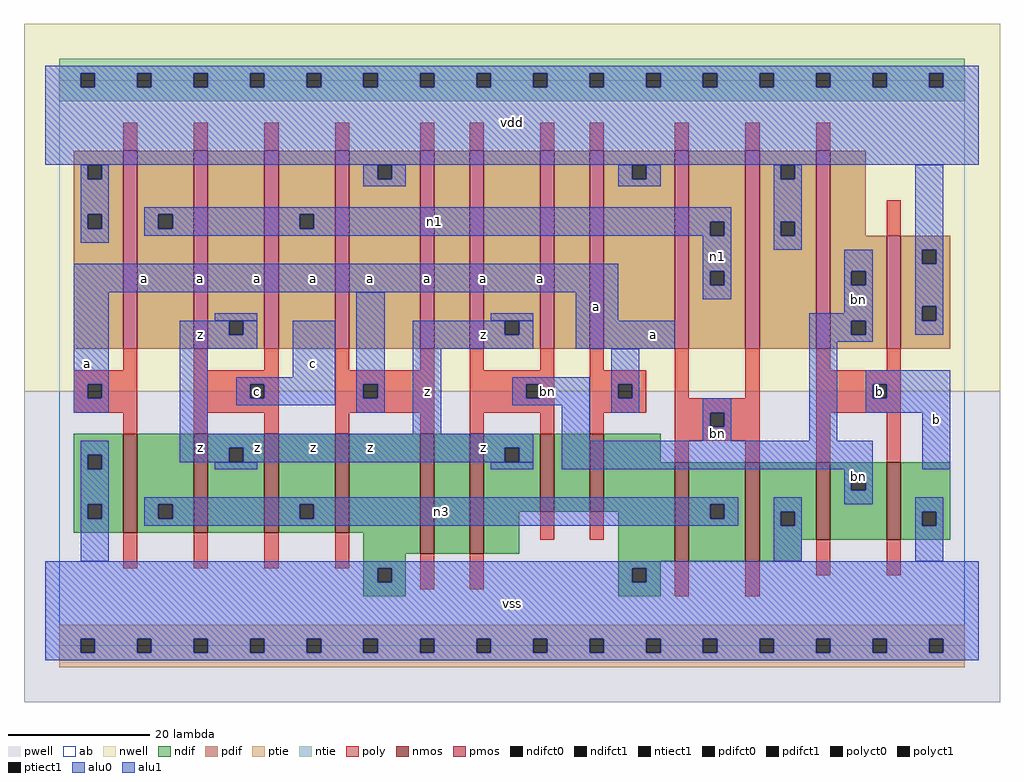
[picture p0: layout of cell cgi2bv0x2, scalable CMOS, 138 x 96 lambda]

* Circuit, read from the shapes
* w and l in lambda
.subckt cgi2bv0x2 a b bn c n1 n3 vdd vss z
M1 n3 a vss vss nfet w=14 l=2 m=2
M2 z c n3 vss nfet w=14 l=2 m=2
M3 n2 a vss vss nfet w=17 l=2
M4 z bn n2 vss nfet w=17 l=2
M5 n4 bn z vss nfet w=11 l=2
M6 vss a n4 vss nfet w=11 l=2
M7 n3 bn vss vss nfet w=14 l=2 m=2
M8 bn b vss vss nfet w=11 l=2 m=2
M9 n1 a vdd vdd pfet w=28 l=2 m=2
M10 z c n1 vdd pfet w=28 l=2 m=2
M11 n5 a vdd vdd pfet w=28 l=2
M12 z bn n5 vdd pfet w=28 l=2
M13 n6 bn z vdd pfet w=28 l=2
M14 vdd a n6 vdd pfet w=28 l=2
M15 n1 bn vdd vdd pfet w=28 l=2 m=2
M16 bn b vdd vdd pfet w=28 l=2
M17 vdd b bn vdd pfet w=16 l=2
.ends

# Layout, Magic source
magic
tech scmos
<< ab >>
rect 0 0 128 80
<< nwell >>
rect -5 36 133 88
<< pwell >>
rect -5 -8 133 36
<< poly >>
rect 9 70 11 74
rect 19 70 21 74
rect 29 70 31 74
rect 39 70 41 74
rect 51 70 53 74
rect 58 70 60 74
rect 68 70 70 74
rect 75 70 77 74
rect 87 70 89 74
rect 97 70 99 74
rect 107 70 109 74
rect 117 58 119 63
rect 9 39 11 42
rect 2 37 11 39
rect 2 35 4 37
rect 6 35 11 37
rect 2 33 11 35
rect 9 30 11 33
rect 19 39 21 42
rect 29 39 31 42
rect 19 37 31 39
rect 19 35 27 37
rect 29 35 31 37
rect 19 33 31 35
rect 19 30 21 33
rect 29 30 31 33
rect 39 39 41 42
rect 51 39 53 42
rect 39 37 53 39
rect 39 35 43 37
rect 45 35 53 37
rect 39 33 53 35
rect 39 30 41 33
rect 51 30 53 33
rect 58 39 60 42
rect 68 39 70 42
rect 58 37 70 39
rect 58 35 66 37
rect 68 35 70 37
rect 58 33 70 35
rect 58 30 60 33
rect 68 30 70 33
rect 75 39 77 42
rect 75 37 83 39
rect 75 35 79 37
rect 81 35 83 37
rect 75 33 83 35
rect 87 35 89 42
rect 97 35 99 42
rect 87 33 99 35
rect 75 30 77 33
rect 87 31 92 33
rect 94 31 99 33
rect 9 11 11 16
rect 19 11 21 16
rect 29 11 31 16
rect 39 11 41 16
rect 87 29 99 31
rect 87 26 89 29
rect 97 26 99 29
rect 107 39 109 42
rect 117 39 119 42
rect 107 37 119 39
rect 107 35 115 37
rect 117 35 119 37
rect 107 33 119 35
rect 107 26 109 33
rect 117 26 119 33
rect 68 15 70 19
rect 75 15 77 19
rect 51 8 53 13
rect 58 8 60 13
rect 87 7 89 12
rect 97 7 99 12
rect 107 10 109 15
rect 117 10 119 15
<< ndif >>
rect 2 27 9 30
rect 2 25 4 27
rect 6 25 9 27
rect 2 20 9 25
rect 2 18 4 20
rect 6 18 9 20
rect 2 16 9 18
rect 11 20 19 30
rect 11 18 14 20
rect 16 18 19 20
rect 11 16 19 18
rect 21 28 29 30
rect 21 26 24 28
rect 26 26 29 28
rect 21 16 29 26
rect 31 20 39 30
rect 31 18 34 20
rect 36 18 39 20
rect 31 16 39 18
rect 41 16 51 30
rect 43 13 51 16
rect 53 13 58 30
rect 60 28 68 30
rect 60 26 63 28
rect 65 26 68 28
rect 60 19 68 26
rect 70 19 75 30
rect 77 26 85 30
rect 77 19 87 26
rect 60 13 65 19
rect 43 11 49 13
rect 43 9 45 11
rect 47 9 49 11
rect 43 7 49 9
rect 79 12 87 19
rect 89 20 97 26
rect 89 18 92 20
rect 94 18 97 20
rect 89 12 97 18
rect 99 19 107 26
rect 99 17 102 19
rect 104 17 107 19
rect 99 15 107 17
rect 109 24 117 26
rect 109 22 112 24
rect 114 22 117 24
rect 109 15 117 22
rect 119 19 126 26
rect 119 17 122 19
rect 124 17 126 19
rect 119 15 126 17
rect 99 12 105 15
rect 79 11 85 12
rect 79 9 81 11
rect 83 9 85 11
rect 79 7 85 9
<< pdif >>
rect 2 68 9 70
rect 2 66 4 68
rect 6 66 9 68
rect 2 61 9 66
rect 2 59 4 61
rect 6 59 9 61
rect 2 42 9 59
rect 11 61 19 70
rect 11 59 14 61
rect 16 59 19 61
rect 11 42 19 59
rect 21 46 29 70
rect 21 44 24 46
rect 26 44 29 46
rect 21 42 29 44
rect 31 61 39 70
rect 31 59 34 61
rect 36 59 39 61
rect 31 42 39 59
rect 41 68 51 70
rect 41 66 45 68
rect 47 66 51 68
rect 41 42 51 66
rect 53 42 58 70
rect 60 46 68 70
rect 60 44 63 46
rect 65 44 68 46
rect 60 42 68 44
rect 70 42 75 70
rect 77 68 87 70
rect 77 66 81 68
rect 83 66 87 68
rect 77 42 87 66
rect 89 60 97 70
rect 89 58 92 60
rect 94 58 97 60
rect 89 53 97 58
rect 89 51 92 53
rect 94 51 97 53
rect 89 42 97 51
rect 99 68 107 70
rect 99 66 102 68
rect 104 66 107 68
rect 99 60 107 66
rect 99 58 102 60
rect 104 58 107 60
rect 99 42 107 58
rect 109 58 114 70
rect 109 53 117 58
rect 109 51 112 53
rect 114 51 117 53
rect 109 46 117 51
rect 109 44 112 46
rect 114 44 117 46
rect 109 42 117 44
rect 119 56 126 58
rect 119 54 122 56
rect 124 54 126 56
rect 119 48 126 54
rect 119 46 122 48
rect 124 46 126 48
rect 119 42 126 46
<< alu1 >>
rect -2 81 130 82
rect -2 79 3 81
rect 5 79 11 81
rect 13 79 19 81
rect 21 79 27 81
rect 29 79 35 81
rect 37 79 43 81
rect 45 79 51 81
rect 53 79 59 81
rect 61 79 67 81
rect 69 79 75 81
rect 77 79 83 81
rect 85 79 91 81
rect 93 79 99 81
rect 101 79 107 81
rect 109 79 115 81
rect 117 79 123 81
rect 125 79 130 81
rect -2 68 130 79
rect 2 50 79 54
rect 2 37 7 50
rect 2 35 4 37
rect 6 35 7 37
rect 2 33 7 35
rect 17 44 24 46
rect 26 44 28 46
rect 17 42 28 44
rect 17 30 21 42
rect 33 38 39 46
rect 25 37 39 38
rect 25 35 27 37
rect 29 35 39 37
rect 25 34 39 35
rect 50 44 63 46
rect 65 44 67 46
rect 50 42 67 44
rect 73 46 79 50
rect 73 42 87 46
rect 50 30 54 42
rect 17 28 67 30
rect 17 26 24 28
rect 26 26 63 28
rect 65 26 67 28
rect 114 37 126 39
rect 114 35 115 37
rect 117 35 126 37
rect 114 33 126 35
rect 122 25 126 33
rect -2 11 130 12
rect -2 9 45 11
rect 47 9 81 11
rect 83 9 130 11
rect -2 1 130 9
rect -2 -1 3 1
rect 5 -1 11 1
rect 13 -1 19 1
rect 21 -1 27 1
rect 29 -1 35 1
rect 37 -1 43 1
rect 45 -1 51 1
rect 53 -1 59 1
rect 61 -1 67 1
rect 69 -1 75 1
rect 77 -1 83 1
rect 85 -1 91 1
rect 93 -1 99 1
rect 101 -1 107 1
rect 109 -1 115 1
rect 117 -1 123 1
rect 125 -1 130 1
rect -2 -2 130 -1
<< ptie >>
rect 0 1 128 3
rect 0 -1 3 1
rect 5 -1 11 1
rect 13 -1 19 1
rect 21 -1 27 1
rect 29 -1 35 1
rect 37 -1 43 1
rect 45 -1 51 1
rect 53 -1 59 1
rect 61 -1 67 1
rect 69 -1 75 1
rect 77 -1 83 1
rect 85 -1 91 1
rect 93 -1 99 1
rect 101 -1 107 1
rect 109 -1 115 1
rect 117 -1 123 1
rect 125 -1 128 1
rect 0 -3 128 -1
<< ntie >>
rect 0 81 128 83
rect 0 79 3 81
rect 5 79 11 81
rect 13 79 19 81
rect 21 79 27 81
rect 29 79 35 81
rect 37 79 43 81
rect 45 79 51 81
rect 53 79 59 81
rect 61 79 67 81
rect 69 79 75 81
rect 77 79 83 81
rect 85 79 91 81
rect 93 79 99 81
rect 101 79 107 81
rect 109 79 115 81
rect 117 79 123 81
rect 125 79 128 81
rect 0 77 128 79
<< nmos >>
rect 9 16 11 30
rect 19 16 21 30
rect 29 16 31 30
rect 39 16 41 30
rect 51 13 53 30
rect 58 13 60 30
rect 68 19 70 30
rect 75 19 77 30
rect 87 12 89 26
rect 97 12 99 26
rect 107 15 109 26
rect 117 15 119 26
<< pmos >>
rect 9 42 11 70
rect 19 42 21 70
rect 29 42 31 70
rect 39 42 41 70
rect 51 42 53 70
rect 58 42 60 70
rect 68 42 70 70
rect 75 42 77 70
rect 87 42 89 70
rect 97 42 99 70
rect 107 42 109 70
rect 117 42 119 58
<< polyct0 >>
rect 43 35 45 37
rect 66 35 68 37
rect 79 35 81 37
rect 92 31 94 33
<< polyct1 >>
rect 4 35 6 37
rect 27 35 29 37
rect 115 35 117 37
<< ndifct0 >>
rect 4 25 6 27
rect 4 18 6 20
rect 14 18 16 20
rect 34 18 36 20
rect 92 18 94 20
rect 102 17 104 19
rect 112 22 114 24
rect 122 17 124 19
<< ndifct1 >>
rect 24 26 26 28
rect 63 26 65 28
rect 45 9 47 11
rect 81 9 83 11
<< ntiect1 >>
rect 3 79 5 81
rect 11 79 13 81
rect 19 79 21 81
rect 27 79 29 81
rect 35 79 37 81
rect 43 79 45 81
rect 51 79 53 81
rect 59 79 61 81
rect 67 79 69 81
rect 75 79 77 81
rect 83 79 85 81
rect 91 79 93 81
rect 99 79 101 81
rect 107 79 109 81
rect 115 79 117 81
rect 123 79 125 81
<< ptiect1 >>
rect 3 -1 5 1
rect 11 -1 13 1
rect 19 -1 21 1
rect 27 -1 29 1
rect 35 -1 37 1
rect 43 -1 45 1
rect 51 -1 53 1
rect 59 -1 61 1
rect 67 -1 69 1
rect 75 -1 77 1
rect 83 -1 85 1
rect 91 -1 93 1
rect 99 -1 101 1
rect 107 -1 109 1
rect 115 -1 117 1
rect 123 -1 125 1
<< pdifct0 >>
rect 4 66 6 68
rect 4 59 6 61
rect 14 59 16 61
rect 34 59 36 61
rect 45 66 47 68
rect 81 66 83 68
rect 92 58 94 60
rect 92 51 94 53
rect 102 66 104 68
rect 102 58 104 60
rect 112 51 114 53
rect 112 44 114 46
rect 122 54 124 56
rect 122 46 124 48
<< pdifct1 >>
rect 24 44 26 46
rect 63 44 65 46
<< alu0 >>
rect 3 66 4 68
rect 6 66 7 68
rect 3 61 7 66
rect 43 66 45 68
rect 47 66 49 68
rect 43 65 49 66
rect 79 66 81 68
rect 83 66 85 68
rect 79 65 85 66
rect 101 66 102 68
rect 104 66 105 68
rect 3 59 4 61
rect 6 59 7 61
rect 3 57 7 59
rect 12 61 95 62
rect 12 59 14 61
rect 16 59 34 61
rect 36 60 95 61
rect 36 59 92 60
rect 12 58 92 59
rect 94 58 95 60
rect 22 46 28 47
rect 42 37 46 50
rect 61 46 67 47
rect 42 35 43 37
rect 45 35 46 37
rect 42 33 46 35
rect 91 53 95 58
rect 101 60 105 66
rect 101 58 102 60
rect 104 58 105 60
rect 101 56 105 58
rect 121 56 125 68
rect 91 51 92 53
rect 94 51 95 53
rect 91 49 95 51
rect 111 53 115 56
rect 111 51 112 53
rect 114 51 115 53
rect 111 47 115 51
rect 106 46 115 47
rect 106 44 112 46
rect 114 44 115 46
rect 121 54 122 56
rect 124 54 125 56
rect 121 48 125 54
rect 121 46 122 48
rect 124 46 125 48
rect 121 44 125 46
rect 106 43 115 44
rect 64 37 75 38
rect 64 35 66 37
rect 68 35 75 37
rect 64 34 75 35
rect 3 27 7 29
rect 3 25 4 27
rect 6 25 7 27
rect 22 25 28 26
rect 61 25 67 26
rect 71 29 75 34
rect 78 37 82 42
rect 78 35 79 37
rect 81 35 82 37
rect 78 33 82 35
rect 91 33 95 35
rect 91 31 92 33
rect 94 31 95 33
rect 91 29 95 31
rect 106 29 110 43
rect 71 25 115 29
rect 3 20 7 25
rect 111 24 115 25
rect 111 22 112 24
rect 114 22 115 24
rect 3 18 4 20
rect 6 18 7 20
rect 3 12 7 18
rect 12 20 96 21
rect 12 18 14 20
rect 16 18 34 20
rect 36 18 92 20
rect 94 18 96 20
rect 12 17 96 18
rect 101 19 105 21
rect 111 20 115 22
rect 101 17 102 19
rect 104 17 105 19
rect 101 12 105 17
rect 121 19 125 21
rect 121 17 122 19
rect 124 17 125 19
rect 121 12 125 17
<< labels >>
rlabel alu0 69 36 69 36 6 bn
rlabel alu0 93 30 93 30 6 bn
rlabel alu0 93 55 93 55 6 n1
rlabel alu0 53 60 53 60 6 n1
rlabel alu0 113 24 113 24 6 bn
rlabel alu0 54 19 54 19 6 n3
rlabel alu0 113 49 113 49 6 bn
rlabel alu1 20 28 20 28 6 z
rlabel alu1 20 44 20 44 6 z
rlabel alu1 4 40 4 40 6 a
rlabel alu1 12 52 12 52 6 a
rlabel alu1 20 52 20 52 6 a
rlabel alu1 28 28 28 28 6 z
rlabel alu1 36 28 36 28 6 z
rlabel alu1 44 28 44 28 6 z
rlabel polyct1 28 36 28 36 6 c
rlabel alu1 36 40 36 40 6 c
rlabel alu1 28 52 28 52 6 a
rlabel alu1 36 52 36 52 6 a
rlabel alu1 44 52 44 52 6 a
rlabel alu1 64 6 64 6 6 vss
rlabel alu1 60 28 60 28 6 z
rlabel alu1 52 36 52 36 6 z
rlabel alu1 60 44 60 44 6 z
rlabel alu1 60 52 60 52 6 a
rlabel alu1 68 52 68 52 6 a
rlabel alu1 52 52 52 52 6 a
rlabel alu1 64 74 64 74 6 vdd
rlabel alu1 84 44 84 44 6 a
rlabel alu1 76 48 76 48 6 a
rlabel alu1 124 32 124 32 6 b
rlabel polyct1 116 36 116 36 6 b
<< end >>
